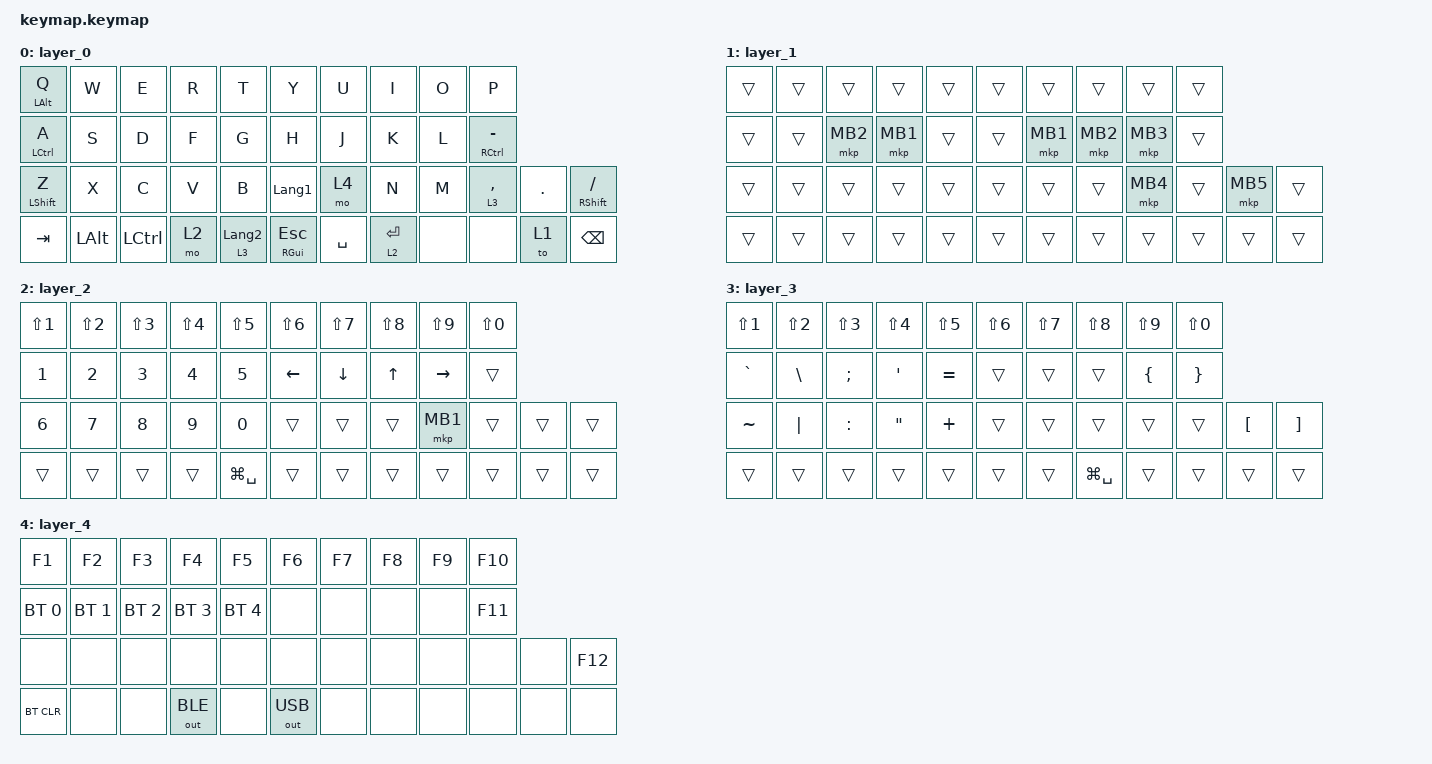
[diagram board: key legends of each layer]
#include <behaviors.dtsi>
#include <dt-bindings/zmk/bt.h>
#include <dt-bindings/zmk/keys.h>
#include <dt-bindings/zmk/outputs.h>
#include <dt-bindings/zmk/pointing.h>
#include <input/processors.dtsi>
#include <dt-bindings/zmk/input_transform.h>

/ {
    chosen {
        /* このキーマップは S Layout(44キー) の並びで書いてある。
         * シールド側の既定は L Layout なので、ここで上書きする。
         * 相互変換は torabo_tsuki_lp_layouts.dtsi の
         * position_map_1 (complete) が行うため、Studio で
         * 他のレイアウトを選んでも対応は保たれる。 */
        zmk,physical-layout = &physical_layout_s;
    };

    /* ============================================================
     * ZMK Studio 上の実機設定から復元したキーマップ。
     *
     * 並びは S Layout の物理配置そのまま:
     *   1行目  0-9    (左5 + 右5)   … 上段
     *   2行目  10-19  (左5 + 右5)   … ホームロウ(Mod-Tap)
     *   3行目  20-31  (左6 + 右6)   … 下段
     *   4行目  32-43  (左6 + 右6)   … 親指段
     *
     * XSに存在しないキーは &none。
     * コンボを書くときの key-positions もこの番号で指定できる。
     * ============================================================ */
    keymap {
        compatible = "zmk,keymap";

        /* Layer 0: ベース。外側の列と最下段はホームロウモッド(Mod-Tap) */
        layer_0 {
            bindings = <
&mt LALT Q       &kp W            &kp E            &kp R            &kp T               &kp Y            &kp U            &kp I            &kp O            &kp P
&mt LCTRL A      &kp S            &kp D            &kp F            &kp G               &kp H            &kp J            &kp K            &kp L            &mt RCTRL MINUS
&mt LSHFT Z      &kp X            &kp C            &kp V            &kp B            &kp LANGUAGE_1      &mo 4            &kp N            &kp M            &lt 3 COMMA      &kp DOT          &mt RSHFT FSLH
&kp TAB          &kp LALT         &kp LCTRL        &mo 2            &lt 3 LANGUAGE_2 &mt RGUI ESC        &kp SPACE        &lt 2 RET        &none            &none            &to 1            &kp BSPC
            >;
        };

        /* Layer 1: AML(トラックボール操作)で自動的に有効化。マウスボタン MB1-MB5 専用。
         * このレイヤーはボール停止後 500ms のあいだ勝手に乗るため、
         * 文字キーの位置には &trans 以外を置かないこと。
         * (以前ここに F1-F12 を置いていたが、Cmd+F5 で VoiceOver が
         *  暴発したため Layer 4 へ移設した) */
        layer_1 {
            bindings = <
&trans    &trans    &trans    &trans    &trans       &trans    &trans    &trans    &trans    &trans
&trans    &trans    &mkp MB2  &mkp MB1  &trans       &trans    &mkp MB1  &mkp MB2  &mkp MB3  &trans
&trans    &trans    &trans    &trans    &trans    &trans       &trans    &trans    &mkp MB4  &trans    &mkp MB5  &trans
&trans    &trans    &trans    &trans    &trans    &trans       &trans    &trans    &trans    &trans    &trans    &trans
            >;
        };

        /* Layer 2: &mo 2 で有効化。数字・記号・矢印 */
        layer_2 {
            bindings = <
&kp LS(N1)     &kp LS(N2)     &kp LS(N3)     &kp LS(N4)     &kp LS(N5)        &kp LS(N6)     &kp LS(N7)     &kp LS(N8)     &kp LS(N9)     &kp LS(N0)
&kp N1         &kp N2         &kp N3         &kp N4         &kp N5            &kp LEFT       &kp DOWN       &kp UP         &kp RIGHT      &trans
&kp N6         &kp N7         &kp N8         &kp N9         &kp N0         &trans            &trans         &trans         &mkp MB1       &trans         &trans         &trans
&trans         &trans         &trans         &trans         &kp LG(SPACE)  &trans            &trans         &trans         &trans         &trans         &trans         &trans
            >;
        };

        /* Layer 3: &mo 3 / COMMA長押しで有効化。記号・括弧。スクロール層でもある */
        layer_3 {
            bindings = <
&kp LS(N1)     &kp LS(N2)     &kp LS(N3)     &kp LS(N4)     &kp LS(N5)        &kp LS(N6)     &kp LS(N7)     &kp LS(N8)     &kp LS(N9)     &kp LS(N0)
&kp GRAVE      &kp BSLH       &kp SEMI       &kp SQT        &kp EQUAL         &trans         &trans         &trans         &kp LBRC       &kp RBRC
&kp TILDE      &kp PIPE       &kp COLON      &kp DQT        &kp PLUS       &trans            &trans         &trans         &trans         &trans         &kp LBKT       &kp RBKT
&trans         &trans         &trans         &trans         &trans         &trans            &trans         &kp LG(SPACE)  &trans         &trans         &trans         &trans
            >;
        };

        /* Layer 4: &mo 4(Layer 0 下段、B の右隣)を押している間だけ有効。
         * F1-F12 と Bluetooth / 出力先の切り替え。
         * 明示的に押している間だけ有効なので、AML のような暴発は起きない */
        layer_4 {
            bindings = <
&kp F1        &kp F2        &kp F3        &kp F4        &kp F5           &kp F6        &kp F7        &kp F8        &kp F9        &kp F10
&bt BT_SEL 0  &bt BT_SEL 1  &bt BT_SEL 2  &bt BT_SEL 3  &bt BT_SEL 4     &none         &none         &none         &none         &kp F11
&none         &none         &none         &none         &none         &none            &none         &none         &none         &none         &none         &kp F12
&bt BT_CLR    &none         &none         &out OUT_BLE  &none         &out OUT_USB     &none         &none         &none         &none         &none         &none
            >;
        };
    };
};


/* ============================================================
 * トラックボール設定
 *   ノードのラベルは pointing_listener（trackball_listener ではない）
 *   定義元: boards/shields/torabo_tsuki_lp/torabo_tsuki_lp.dtsi
 *   ここを書き換えたら push → GitHub Actions → uf2 を Central 側に書き込み
 * ============================================================ */

&pointing_listener {

    /* --- 通常時（レイヤー3以外）の処理チェーン ---------------- */
    input-processors =

        /* [1] 軸の向き補正
         *     torabo_tsuki_lp_right.overlay と同じ内容。
         *     input-processors は「上書き」なので、ここに書かないと
         *     overlay 側の設定が消えて上下左右が反転する。
         *     ボールと逆に動く場合はここを調整:
         *       上下だけ反転     → INPUT_TRANSFORM_Y_INVERT
         *       左右だけ反転     → INPUT_TRANSFORM_X_INVERT
         *       縦横が入れ替わる → INPUT_TRANSFORM_XY_SWAP を | で追加
         */
        <&zip_xy_transform (INPUT_TRANSFORM_X_INVERT | INPUT_TRANSFORM_Y_INVERT)>,

        /* [2] カーソル速度の調整
         *     書式: <&zip_xy_scaler 倍率 除数>
         *       速くする: <&zip_xy_scaler 3 2>   (1.5倍)
         *       遅くする: <&zip_xy_scaler 1 2>   (0.5倍)
         *     現在は 4/5 = 0.8倍。もう少し落とすなら <&zip_xy_scaler 3 4> (0.75倍) */
        <&zip_xy_scaler 4 5>,

        /* [3] オートマウスレイヤー（AML）
         *     書式: <&zip_temp_layer レイヤー番号 タイムアウトms>
         *       レイヤー番号 … 1 = マウスボタンを置いたレイヤー
         *       タイムアウト … ボールが止まってから解除されるまでの時間
         *         短すぎ（クリック前に解除される） → 1000〜1500 へ
         *         長すぎ（タイピングに戻れない）   → 500 へ
         */
        <&zip_temp_layer 1 500>;

    /* --- レイヤー3（Enter長押し）中はスクロールになる ---------- */
    scroll_layer {

        /* スクロールにしたいレイヤー番号。複数可: layers = <2 3>;
         * スクロール不要ならこのブロックごと削除してよい */
        layers = <3>;

        /* ⚠ レイヤー別オーバーライドはベースの処理チェーンを
         *    「置き換える」ので、軸補正 [1] をここにも書かないと
         *    スクロール方向が反転する */
        input-processors =
            <&zip_xy_transform (INPUT_TRANSFORM_X_INVERT)>,

            /* スクロール量の調整。いちばん触る箇所。
             *   速すぎる → <&zip_xy_scaler 1 16>
             *   遅すぎる → <&zip_xy_scaler 1 4>
             * ここを入れないと猛烈な速度でスクロールする */
            <&zip_xy_scaler 1 8>,

            /* XY移動をホイール入力に変換。これ自体に設定項目はない */
            <&zip_xy_to_scroll_mapper>;
    };
};


/* ============================================================
 * タップ直後にもう一度押して長押しすると、ホールドではなく
 * タップ側のキーがリピートする（QMKのタップ後長押しと同じ挙動）。
 *   反応しない  → 300 へ増やす
 * ============================================================ */
&mt {
    /* flavor: ホールドと判定する条件。
     *   hold-preferred (既定) … 他キーを押した瞬間にホールド確定 → ロール入力で
     *                            "as" が Ctrl+S になるなど誤爆する
     *   tap-preferred        … 時間で押し続けたときだけホールド。誤爆しない代わりに
     *                            Ctrl/Shift を使うときは tapping-term 分しっかり押す
     *   balanced             … その中間
     * 修飾キーの反応が鈍いと感じたら balanced を試す */
    flavor = "tap-preferred";

    /* ホールド確定までの時間。
     *   まだ文字が消える → 250〜300 へ伸ばす
     *   修飾キーが遅い   → 180 へ縮める
     *
     * 200 から 150 に変更済み。Shift+P の件には効果がなかったが、
     * 下の require-prior-idle-ms を下げる実験の前提として据え置く。 */
    tapping-term-ms = <150>;

    /* タップ直後の再押下をタップ扱いにする猶予（キーリピート用） */
    quick-tap-ms = <200>;

    /* 直前の打鍵からこの時間内はホールドを発動させない。
     * タイピング中の誤爆に最も効くが、速い入力では
     * 上の tapping-term-ms より先に働きホールド判定自体を無効化する。
     *
     * 150 から 100 に変更 (お試し)。
     * iPhone を素早く打つと Shift+P が認識されず izphone になる問題の対策。
     * tapping-term-ms を 150 に下げても変化がなかったため、
     * ホールド判定に到達していないと判断してこちら側を下げる。
     * 100ms は打鍵間隔 120WPM 相当で、それより速い連打だけが保護対象になる。
     *
     * 見るべき点:
     *   Shift+P が出るようになったか
     *   "as" が Ctrl+S になる誤爆が戻っていないか
     * 効果が薄ければ 75 へ。誤爆が戻ったら 125 へ。 */
    require-prior-idle-ms = <100>;
};

&lt {
    quick-tap-ms = <200>;
};

